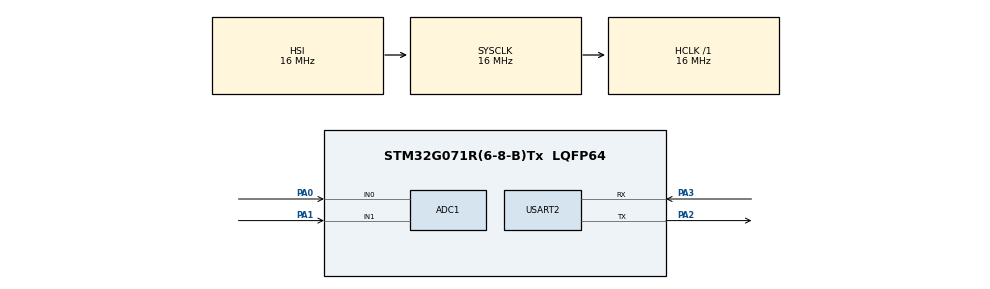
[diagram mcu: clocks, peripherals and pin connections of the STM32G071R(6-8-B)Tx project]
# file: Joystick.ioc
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ADC1.Channel-2\#ChannelRegularConversion=ADC_CHANNEL_0
ADC1.ContinuousConvMode=ENABLE
ADC1.DMAContinuousRequests=ENABLE
ADC1.EOCSelection=ADC_EOC_SEQ_CONV
ADC1.NbrOfConversion=2
ADC1.NbrOfConversionFlag=1
ADC1.Rank-2\#ChannelRegularConversion=2
ADC1.SamplingTime-2\#ChannelRegularConversion=ADC_SAMPLINGTIME_COMMON_1
ADC1.SamplingTimeCommon1=ADC_SAMPLETIME_160CYCLES_5
ADC1.SamplingTimeCommon2=ADC_SAMPLETIME_160CYCLES_5
ADC1.SelectedChannel=ADC_CHANNEL_0|ADC_CHANNEL_1
ADC1.master=1
Dma.ADC1.0.Direction=DMA_PERIPH_TO_MEMORY
Dma.ADC1.0.EventEnable=DISABLE
Dma.ADC1.0.Instance=DMA1_Channel1
Dma.ADC1.0.MemDataAlignment=DMA_MDATAALIGN_HALFWORD
Dma.ADC1.0.MemInc=DMA_MINC_ENABLE
Dma.ADC1.0.Mode=DMA_CIRCULAR
Dma.ADC1.0.PeriphDataAlignment=DMA_PDATAALIGN_HALFWORD
Dma.ADC1.0.PeriphInc=DMA_PINC_DISABLE
Dma.ADC1.0.Polarity=HAL_DMAMUX_REQ_GEN_RISING
Dma.ADC1.0.Priority=DMA_PRIORITY_LOW
Dma.ADC1.0.RequestNumber=1
Dma.ADC1.0.SignalID=NONE
Dma.ADC1.0.SyncEnable=DISABLE
Dma.ADC1.0.SyncPolarity=HAL_DMAMUX_SYNC_NO_EVENT
Dma.ADC1.0.SyncRequestNumber=1
Dma.ADC1.0.SyncSignalID=NONE
Dma.Request0=ADC1
Mcu.Family=STM32G0
Mcu.Name=STM32G071R(6-8-B)Tx
Mcu.Package=LQFP64
NVIC.DMA1_Channel1_IRQn=true\:0\:0\:false\:false\:true\:false\:true\:true
PA0.Mode=IN0
PA0.Signal=ADC1_IN0
PA1.Mode=IN1
PA1.Signal=ADC1_IN1
PA2.Mode=Asynchronous
PA2.Signal=USART2_TX
PA3.Mode=Asynchronous
PA3.Signal=USART2_RX
ProjectManager.HeapSize=0x200
ProjectManager.StackSize=0x400
ProjectManager.TargetToolchain=STM32CubeIDE
RCC.AHBFreq_Value=16000000
RCC.CortexFreq_Value=16000000
RCC.EXTERNAL_CLOCK_VALUE=48000
RCC.HCLKFreq_Value=16000000
RCC.HSE_VALUE=8000000
RCC.HSI_VALUE=16000000
RCC.LSE_VALUE=32768
RCC.SYSCLKFreq_VALUE=16000000
RCC.VCOOutputFreq_Value=128000000
USART2.VirtualMode-Asynchronous=VM_ASYNC
board=custom

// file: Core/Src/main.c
/* USER CODE BEGIN Header */
/**
  ******************************************************************************
  * @file           : main.c
  * @brief          : Main program body
  ******************************************************************************
  * @attention
  *
  * Copyright (c) 2025 STMicroelectronics.
  * All rights reserved.
  *
  * This software is licensed under terms that can be found in the LICENSE file
  * in the root directory of this software component.
  * If no LICENSE file comes with this software, it is provided AS-IS.
  *
  ******************************************************************************
  */
/* USER CODE END Header */
#include "main.h"

/* USER CODE BEGIN Includes */
#include "joystick.h"
/* USER CODE END Includes */

/* USER CODE BEGIN PM */
void HAL_UART_PrintFloat(float value, uint8_t decimals);
void HAL_UART_Print(const char *s);
/* USER CODE END PM */

ADC_HandleTypeDef hadc1;
DMA_HandleTypeDef hdma_adc1;

UART_HandleTypeDef huart2;

void SystemClock_Config(void);
static void MX_GPIO_Init(void);
static void MX_DMA_Init(void);
static void MX_ADC1_Init(void);
static void MX_USART2_UART_Init(void);

int main(void)
{

  /* MCU Configuration--------------------------------------------------------*/

  /* Reset of all peripherals, Initializes the Flash interface and the Systick. */
  HAL_Init();

  /* Configure the system clock */
  SystemClock_Config();

  /* Initialize all configured peripherals */
  MX_GPIO_Init();
  MX_DMA_Init();
  MX_ADC1_Init();
  MX_USART2_UART_Init();
  /* USER CODE BEGIN 2 */
  HAL_UART_Print("UART OK\r\n");
  HAL_Delay(500);

  Joystick_Init(&hadc1);

  HAL_UART_Print("UART STILL OK\r\n");
  HAL_Delay(500);

  Joystick_Start();
  /* USER CODE END 2 */

  /* Infinite loop */
  /* USER CODE BEGIN WHILE */
  HAL_UART_Print("Starting Joystick Read!");

  while (1)
  {
	  	Joystick_t js = Joystick_Get();
	  	Joystick_Process();
//	    HAL_UART_Print("X_raw: ");
//	    HAL_UART_PrintFloat((float)js.rawX, 0);

//	    HAL_UART_Print("   Y_raw: ");
//	    HAL_UART_PrintFloat((float)js.rawY, 0);

	    HAL_UART_Print("   X_norm: ");
	    HAL_UART_PrintFloat(js.normX, 3);

	    HAL_UART_Print("   Y_norm: ");
	    HAL_UART_PrintFloat(js.normY, 3);

	    HAL_UART_Print("\r\n");

	    HAL_Delay(50);

    /* USER CODE END WHILE */

  }
}

void SystemClock_Config(void)
{
  RCC_OscInitTypeDef RCC_OscInitStruct = {0};
  RCC_ClkInitTypeDef RCC_ClkInitStruct = {0};

  /** Configure the main internal regulator output voltage
  */
  HAL_PWREx_ControlVoltageScaling(PWR_REGULATOR_VOLTAGE_SCALE1);

  /** Initializes the RCC Oscillators according to the specified parameters
  * in the RCC_OscInitTypeDef structure.
  */
  RCC_OscInitStruct.OscillatorType = RCC_OSCILLATORTYPE_HSI;
  RCC_OscInitStruct.HSIState = RCC_HSI_ON;
  RCC_OscInitStruct.HSIDiv = RCC_HSI_DIV1;
  RCC_OscInitStruct.HSICalibrationValue = RCC_HSICALIBRATION_DEFAULT;
  RCC_OscInitStruct.PLL.PLLState = RCC_PLL_NONE;
  if (HAL_RCC_OscConfig(&RCC_OscInitStruct) != HAL_OK)
  {
    Error_Handler();
  }

  /** Initializes the CPU, AHB and APB buses clocks
  */
  RCC_ClkInitStruct.ClockType = RCC_CLOCKTYPE_HCLK|RCC_CLOCKTYPE_SYSCLK
                              |RCC_CLOCKTYPE_PCLK1;
  RCC_ClkInitStruct.SYSCLKSource = RCC_SYSCLKSOURCE_HSI;
  RCC_ClkInitStruct.AHBCLKDivider = RCC_SYSCLK_DIV1;
  RCC_ClkInitStruct.APB1CLKDivider = RCC_HCLK_DIV1;

  if (HAL_RCC_ClockConfig(&RCC_ClkInitStruct, FLASH_LATENCY_0) != HAL_OK)
  {
    Error_Handler();
  }
}

static void MX_ADC1_Init(void)
{

  ADC_ChannelConfTypeDef sConfig = {0};

  /** Configure the global features of the ADC (Clock, Resolution, Data Alignment and number of conversion)
  */
  hadc1.Instance = ADC1;
  hadc1.Init.ClockPrescaler = ADC_CLOCK_SYNC_PCLK_DIV2;
  hadc1.Init.Resolution = ADC_RESOLUTION_12B;
  hadc1.Init.DataAlign = ADC_DATAALIGN_RIGHT;
  hadc1.Init.ScanConvMode = ADC_SCAN_ENABLE;
  hadc1.Init.EOCSelection = ADC_EOC_SEQ_CONV;
  hadc1.Init.LowPowerAutoWait = DISABLE;
  hadc1.Init.LowPowerAutoPowerOff = DISABLE;
  hadc1.Init.ContinuousConvMode = ENABLE;
  hadc1.Init.NbrOfConversion = 2;
  hadc1.Init.ExternalTrigConv = ADC_SOFTWARE_START;
  hadc1.Init.ExternalTrigConvEdge = ADC_EXTERNALTRIGCONVEDGE_NONE;
  hadc1.Init.DMAContinuousRequests = ENABLE;
  hadc1.Init.Overrun = ADC_OVR_DATA_PRESERVED;
  hadc1.Init.SamplingTimeCommon1 = ADC_SAMPLETIME_160CYCLES_5;
  hadc1.Init.SamplingTimeCommon2 = ADC_SAMPLETIME_160CYCLES_5;
  hadc1.Init.OversamplingMode = DISABLE;
  hadc1.Init.TriggerFrequencyMode = ADC_TRIGGER_FREQ_HIGH;
  if (HAL_ADC_Init(&hadc1) != HAL_OK)
  {
    Error_Handler();
  }

  /** Configure Regular Channel
  */
  sConfig.Channel = ADC_CHANNEL_0;
  sConfig.Rank = ADC_REGULAR_RANK_2;
  sConfig.SamplingTime = ADC_SAMPLINGTIME_COMMON_1;
  if (HAL_ADC_ConfigChannel(&hadc1, &sConfig) != HAL_OK)
  {
    Error_Handler();
  }

}

static void MX_USART2_UART_Init(void)
{

  huart2.Instance = USART2;
  huart2.Init.BaudRate = 115200;
  huart2.Init.WordLength = UART_WORDLENGTH_8B;
  huart2.Init.StopBits = UART_STOPBITS_1;
  huart2.Init.Parity = UART_PARITY_NONE;
  huart2.Init.Mode = UART_MODE_TX_RX;
  huart2.Init.HwFlowCtl = UART_HWCONTROL_NONE;
  huart2.Init.OverSampling = UART_OVERSAMPLING_16;
  huart2.Init.OneBitSampling = UART_ONE_BIT_SAMPLE_DISABLE;
  huart2.Init.ClockPrescaler = UART_PRESCALER_DIV1;
  huart2.AdvancedInit.AdvFeatureInit = UART_ADVFEATURE_NO_INIT;
  if (HAL_UART_Init(&huart2) != HAL_OK)
  {
    Error_Handler();
  }
  if (HAL_UARTEx_SetTxFifoThreshold(&huart2, UART_TXFIFO_THRESHOLD_1_8) != HAL_OK)
  {
    Error_Handler();
  }
  if (HAL_UARTEx_SetRxFifoThreshold(&huart2, UART_RXFIFO_THRESHOLD_1_8) != HAL_OK)
  {
    Error_Handler();
  }
  if (HAL_UARTEx_DisableFifoMode(&huart2) != HAL_OK)
  {
    Error_Handler();
  }

}

static void MX_DMA_Init(void)
{

  /* DMA controller clock enable */
  __HAL_RCC_DMA1_CLK_ENABLE();

  /* DMA interrupt init */
  /* DMA1_Channel1_IRQn interrupt configuration */
  HAL_NVIC_SetPriority(DMA1_Channel1_IRQn, 0, 0);
  HAL_NVIC_EnableIRQ(DMA1_Channel1_IRQn);

}

static void MX_GPIO_Init(void)
{

  /* GPIO Ports Clock Enable */
  __HAL_RCC_GPIOA_CLK_ENABLE();

}

/* USER CODE BEGIN 4 */
void HAL_UART_PrintChar(char c)
{
    HAL_UART_Transmit(&huart2, (uint8_t*)&c, 1, HAL_MAX_DELAY);
}

void HAL_UART_Print(const char *s)
{
    while (*s)
        HAL_UART_PrintChar(*s++);
}
void HAL_UART_PrintFloat(float value, uint8_t decimals)
{
    // Handle negative numbers
    if (value < 0) {
        HAL_UART_PrintChar('-');
        value = -value;
    }

    // Extract integer part
    uint32_t intPart = (uint32_t)value;

    // Extract fractional part
    float fpart = value - (float)intPart;

    // Print integer part manually
    char buffer[12];
    int i = 0;

    do {
        buffer[i++] = (intPart % 10) + '0';
        intPart /= 10;
    } while (intPart > 0);

    // Print in correct order
    while (i > 0) {
        HAL_UART_PrintChar(buffer[--i]);
    }

    // Decimal point
    if (decimals > 0) {
        HAL_UART_PrintChar('.');

        // Multiply out fractional digits
        for (int d = 0; d < decimals; d++) {
            fpart *= 10.0f;
            int digit = (int)fpart;
            HAL_UART_PrintChar('0' + digit);
            fpart -= digit;
        }
    }
}

/* USER CODE END 4 */

void Error_Handler(void)
{
  __disable_irq();
  while (1)
  {
  }
}
